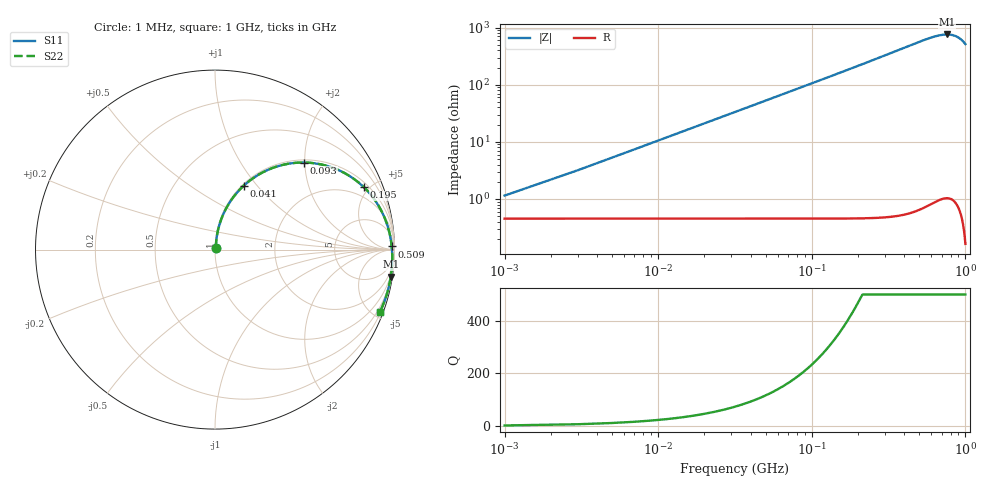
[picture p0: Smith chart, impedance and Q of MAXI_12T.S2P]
! Coilcraft 132-12SM_ Maxi Spring Air Core Inductor
! 28 May 2003
# MHZ S MA R 50
!Freq  MagS11  AngS11  MagS21  AngS21  MagS12  AngS12  MagS22  AngS22
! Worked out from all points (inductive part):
!   501 points, 1 MHz to 1 GHz, reference 50 ohm
!   read as one part in series: L = 168 nH near 5 MHz
!   highest |Z| = 759 ohm at 759 MHz (marker M1)
!   S11 on the Smith chart (normalised r, x): 1 MHz: 1.01, +0.02; 41 MHz: 1.02, +0.86; 93 MHz: 1.06, +1.99; 195 MHz: 1.27, +4.62; 509 MHz: 56, +64; 1 GHz: 0.29, -5.48
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1  0.01129 65.9  0.9954 -0.6  0.9954 -0.6  0.01129 65.9
3  0.03135 79.9  0.995 -1.8  0.995 -1.8  0.03136 79.9
7  0.07238 82.2  0.9929 -4.3  0.9929 -4.3  0.0724 82.2
9  0.09284 81.8  0.9912 -5.5  0.9912 -5.5  0.09286 81.8
13  0.1334 80.2  0.9866 -7.9  0.9866 -7.9  0.1334 80.2
19  0.193 77.3  0.9768 -11.4  0.9768 -11.4  0.193 77.3
25  0.2505 74.1  0.9637 -14.9  0.9637 -14.9  0.2506 74.1
41  0.3908 65.8  0.9163 -23.6  0.9163 -23.6  0.3909 65.8
63  0.5468 55.5  0.8335 -34.1  0.8335 -34.1  0.5469 55.5
93  0.6948 44.3  0.7159 -45.5  0.7159 -45.5  0.695 44.3
129  0.8024 34.4  0.5939 -55.4  0.5939 -55.4  0.8026 34.4
169  0.8707 26.7  0.4893 -63.2  0.4893 -63.2  0.8709 26.7
195  0.8989 22.8  0.436 -67.1  0.436 -67.1  0.8991 22.8
255  0.9382 16.1  0.3442 -73.8  0.3442 -73.8  0.9384 16.1
335  0.9639 9.9  0.2646 -80.0  0.2646 -80.0  0.9641 9.9
501  0.9841 1.4  0.1754 -88.6  0.1754 -88.6  0.9843 1.4
509  0.9846 1.0  0.1727 -88.9  0.1727 -88.9  0.9848 1.0
667  0.9902 -5.2  0.1367 -95.1  0.1367 -95.1  0.9904 -5.2
759  0.991 -8.8  0.1304 -98.7  0.1304 -98.7  0.9912 -8.8
835  0.9904 -11.9  0.1341 -101.8  0.1341 -101.8  0.9906 -11.9
917  0.988 -15.8  0.1502 -105.7  0.1502 -105.7  0.9882 -15.8
1000  0.9817 -20.6  0.1859 -110.6  0.1859 -110.6  0.9819 -20.6
